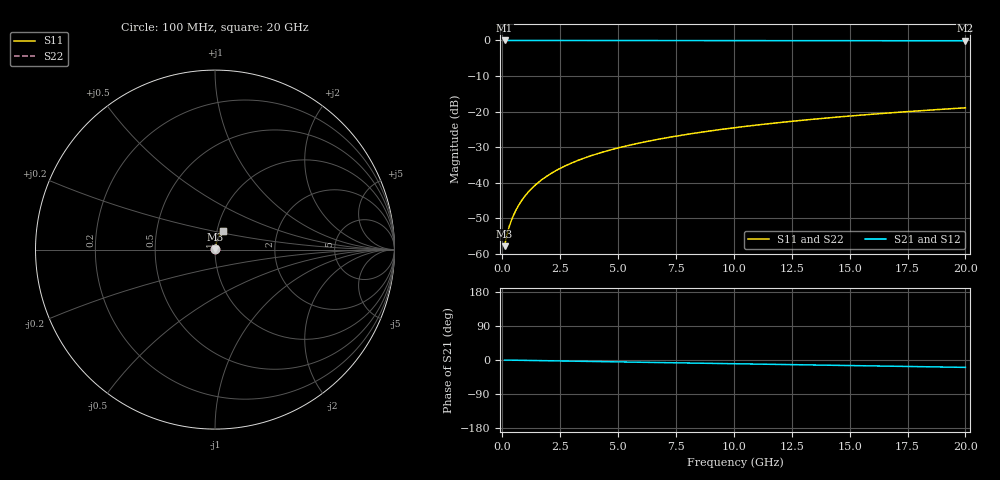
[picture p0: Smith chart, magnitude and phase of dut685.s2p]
! Touchstone file exported from HFSS 2026.1.0
!  File:  C:/ffzhzh/LocalFiles/Ansys_Project_Files/temp_train_TMRDL_685_1783010154_51716.aedt
!  Generated:  12:37:07 AM Jul  3, 2026
!  Design:  TMRDL
!  Project:  temp_train_TMRDL_685_1783010154_51716
! Variables:
!  h_bsmrdl = 2um
!  h_ox = 20um
!  h_rdl = 5um
!  h_sub = 80um
!  h_tmrdl = 4.73um
!  h_tsv = 80um
!  h_via = 3um
!  l_bsmrdl = 300um
!  l_sub = 701.39um
!  l_tmrdl = 301.39um
!  m_sub = 200um
!  pitch = 42.71um
!  r_tsv = 6um
!  s_tmrdl = 10um
!  w_bsmrdl = 18um
!  w_sub = 500um
!  w_tmrdl = 28.67um
!  x_tsv_center1 = 315.725um
!  x_tsv_center2 = 633.725um
!  x_tsv_center3 = 963.785um
!  x_tsv_center4 = 1281.785um
!  x_tsv_center5 = 1611.845um
!  x_tsv_center6 = 1929.845um
# GHz S MA R 50.000000
! Terminal data exported
! Port[1] = TM_RDL1_1_T1
! Port[2] = TM_RDL1_1_T2
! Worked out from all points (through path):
!   200 points, 100 MHz to 20 GHz, reference 50 ohm
!   highest |S21| = -0.01 dB at 100 MHz (marker M1); lowest = -0.1 dB at 20 GHz (marker M2)
!   group delay of S21, straight-line fit = 2.7 ps
!   lowest |S11| = -57.9 dB at 100 MHz (marker M3), VSWR 1.00, Z = 50.1 + j0.0788 ohm
!   |S11| at or under -10 dB: start of sweep to end of sweep
!   |S22| runs from -57.9 to -19.0 dB; largest |S21 - S12| = 3.3e-15
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0.1  0.001277 38.0  0.999 -0.1  0.999 -0.1  0.001277 38.0
! Gamma 0 0 0 0
! Port Impedance 50 0 50 0
0.2  0.001845 52.4  0.9989 -0.2  0.9989 -0.2  0.001845 52.4
0.3  0.002411 59.9  0.9988 -0.3  0.9988 -0.3  0.002411 59.9
0.4  0.002982 64.9  0.9987 -0.4  0.9987 -0.4  0.002982 64.9
0.5  0.003565 68.5  0.9987 -0.5  0.9987 -0.5  0.003566 68.5
0.6  0.00416 71.1  0.9987 -0.6  0.9987 -0.6  0.00416 71.1
0.8  0.005373 74.6  0.9986 -0.8  0.9986 -0.8  0.005373 74.6
1.1  0.007224 77.5  0.9985 -1.1  0.9985 -1.1  0.007224 77.5
1.3  0.008466 78.7  0.9985 -1.3  0.9985 -1.3  0.008466 78.7
1.6  0.01033 79.7  0.9984 -1.6  0.9984 -1.6  0.01033 79.7
2.1  0.01342 80.5  0.9982 -2.1  0.9982 -2.1  0.01342 80.5
2.7  0.0171 80.7  0.9979 -2.7  0.9979 -2.7  0.0171 80.7
3.5  0.02192 80.5  0.9975 -3.5  0.9975 -3.5  0.02192 80.5
4.2  0.02607 80.1  0.9971 -4.2  0.9971 -4.2  0.02607 80.1
5  0.03075 79.6  0.9967 -5.0  0.9967 -5.0  0.03075 79.6
5.9  0.03594 79.0  0.9962 -5.9  0.9962 -5.9  0.03594 79.0
6.8  0.04109 78.4  0.9957 -6.7  0.9957 -6.7  0.04109 78.4
8.3  0.04957 77.3  0.9948 -8.2  0.9948 -8.2  0.04957 77.3
10.1  0.05963 75.9  0.9938 -9.9  0.9938 -9.9  0.05963 75.8
13.4  0.07777 73.1  0.9919 -13.1  0.9919 -13.1  0.07777 73.1
16.7  0.09551 70.3  0.9898 -16.3  0.9898 -16.3  0.09551 70.3
20  0.1128 67.4  0.9874 -19.5  0.9874 -19.5  0.1128 67.4
